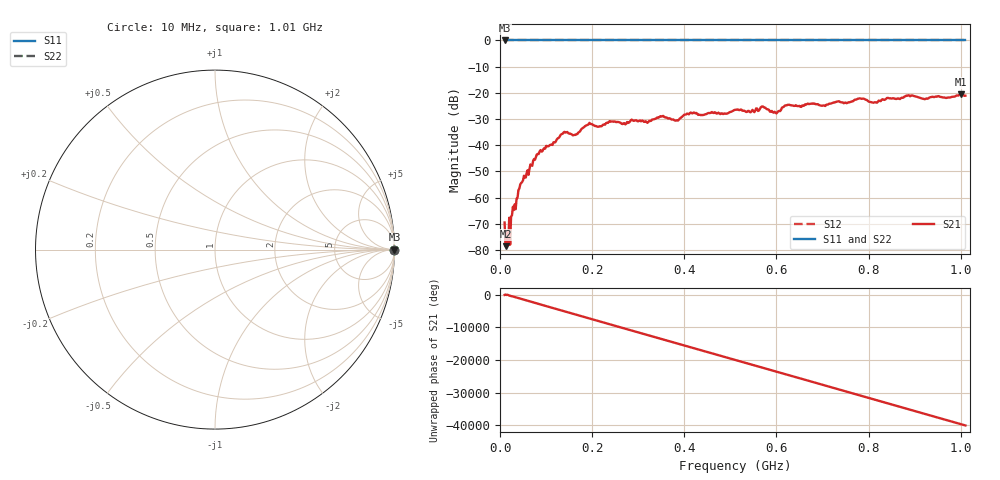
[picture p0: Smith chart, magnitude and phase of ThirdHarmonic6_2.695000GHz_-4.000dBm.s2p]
! 8/17/2025 6:24:58 AM
! C:\ANRITSUVNA\TEMP\TEMP.S2P
! CHANNEL.1
! TR.MEASUREMENT
! RAW.DATA
! RF.CORRECTION.OFF
! AVERAGING.OFF
! IF.BANDWIDTH: 5KHZ
! SWEEPTYPE:  FREQ.SWEEP(Linear)
! Reference Plane Port Info
! PORT:  PORT1  PORT2
! DISTANCE:  0  m  0  m
! TIME:  0  s  0  s
! PHASE.OFFSET:  0  deg.  0  deg.
! LOSS:  0  dB  0  dB
! REF.LOSS:  0  dB  0  dB
! REF.FREQ:  0  Hz  0  Hz
! Power Info
! POWER:  -20  dBm  -20  dBm
! EFF.POWER:  -20  dBm  -20  dBm
! SOURCE.ATTEN:  0  dB  0  dB
! TEST.ATTEN:  0  dB  0  dB
# GHZ S RI R 50.0
! FREQ.GHZ  S11RE  S11IM  S21RE  S21IM  S12RE  S12IM  S22RE  S22IM
!; PortSelection: Port_12
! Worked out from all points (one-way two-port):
!   501 points, 10 MHz to 1.01 GHz, reference 50 ohm
!   highest |S21| = -20.49 dB at 1 GHz (marker M1); lowest = -78.5 dB at 12 MHz (marker M2)
!   lowest |S11| = 0.0 dB at 10 MHz (marker M3)
!   |S11| at or under -10 dB: nowhere
!   |S22| runs from 0.0 to 0.0 dB; largest |S21 - S12| = 1.1
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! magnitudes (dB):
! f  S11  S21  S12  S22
! 10 MHz  0.0  -69.5  0.0  0.0
! 12 MHz  0.0  -78.5  0.0  0.0
! 18 MHz  0.0  -78.1  0.0  0.0
! 28 MHz  0.0  -63.5  0.0  0.0
! 48 MHz  0.0  -54.0  0.0  0.0
! 84 MHz  0.0  -43.4  0.0  0.0
! 136 MHz  0.0  -35.6  0.0  0.0
! 162 MHz  0.0  -36.0  0.0  0.0
! 178 MHz  0.0  -33.6  0.0  0.0
! 194 MHz  0.0  -31.5  0.0  0.0
! 318 MHz  0.0  -31.2  0.0  0.0
! 344 MHz  0.0  -29.5  0.0  0.0
! 384 MHz  0.0  -30.5  0.0  0.0
! 416 MHz  0.0  -27.7  0.0  0.0
! 510 MHz  0.0  -26.5  0.0  0.0
! 570 MHz  0.0  -25.2  0.0  0.0
! 598 MHz  0.0  -27.5  0.0  0.0
! 622 MHz  0.0  -24.8  0.0  0.0
! 678 MHz  0.0  -24.0  0.0  0.0
! 844 MHz  0.0  -22.0  0.0  0.0
! 1 GHz  0.0  -20.5  0.0  0.0
! 1.01 GHz  0.0  -21.1  0.0  0.0
